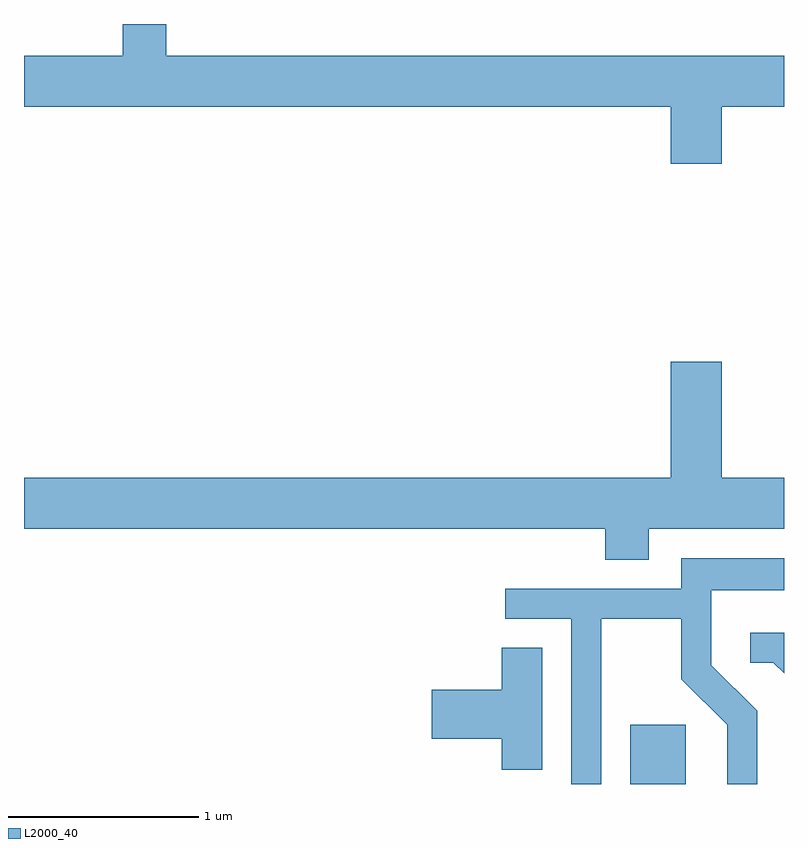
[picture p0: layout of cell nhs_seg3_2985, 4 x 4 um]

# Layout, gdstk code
import gdstk
lib = gdstk.Library(unit=1e-6, precision=1e-09)
def R(c, l, rs):  # rectangles x0, y0, x1, y1
    for r in rs: c.add(gdstk.rectangle(r[:2], r[2:], *l))
def P(c, l, *ps):  # polygons
    for p in ps: c.add(gdstk.Polygon(p, *l))
L2000_40 = (2000, 40)

nhs_seg3_2985 = lib.new_cell('nhs_seg3_2985')
R(nhs_seg3_2985, L2000_40, [(274.801,1237.892,275.094,1238.204)])
P(nhs_seg3_2985, L2000_40, [(275.284,1241.456),(275.611,1241.456),(275.611,1241.724),(272.359,1241.724),(272.359,1241.892),(272.131,1241.892),(272.131,1241.724),(271.611,1241.724),(271.611,1241.456),(275.016,1241.456),(275.016,1241.156),(275.284,1241.156)],
  [(274.899,1239.236),(275.611,1239.236),(275.611,1239.504),(275.284,1239.504),(275.284,1240.114),(275.016,1240.114),(275.016,1239.504),(271.611,1239.504),(271.611,1239.236),(274.671,1239.236),(274.671,1239.071),(274.899,1239.071)],
  [(274.649,1238.761),(275.071,1238.761),(275.071,1238.444),(275.311,1238.204),(275.311,1237.892),(275.469,1237.892),(275.469,1238.277),(275.229,1238.517),(275.229,1238.911),(275.611,1238.911),(275.611,1239.079),(275.071,1239.079),(275.071,1238.919),(274.143,1238.919),(274.143,1238.761),(274.491,1238.761),(274.491,1237.892),(274.649,1237.892)],
  [(275.611,1238.689),(275.433,1238.689),(275.433,1238.531),(275.554,1238.531),(275.611,1238.474)],
  [(274.339,1238.609),(274.126,1238.609),(274.126,1238.389),(273.756,1238.389),(273.756,1238.131),(274.126,1238.131),(274.126,1237.966),(274.339,1237.966)])

lib.write_gds('nhs_seg3_2985.gds')
